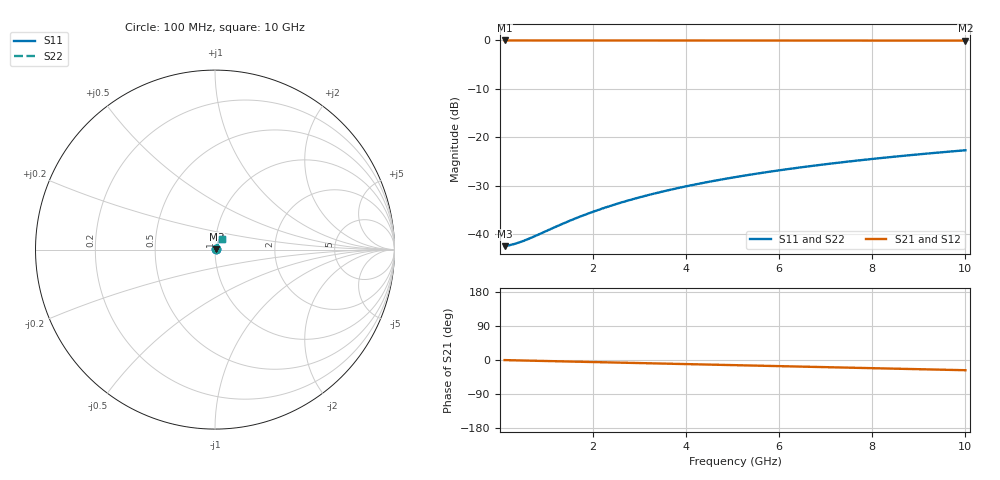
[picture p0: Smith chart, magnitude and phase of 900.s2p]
# Hz S RI R 50.00
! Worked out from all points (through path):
!   100 points, 100 MHz to 10 GHz, reference 50 ohm
!   highest |S21| = -0.07 dB at 100 MHz (marker M1); lowest = -0.1 dB at 10 GHz (marker M2)
!   group delay of S21, straight-line fit = 7.49 ps
!   lowest |S11| = -42.4 dB at 100 MHz (marker M3), VSWR 1.02, Z = 50.8 + j0.0736 ohm
!   |S11| at or under -10 dB: start of sweep to end of sweep
!   |S22| runs from -42.4 to -22.7 dB; largest |S21 - S12| = 0
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1e8  0.00751 0.000725  0.9925 -0.00467  0.9925 -0.00467  0.00751 0.000725
2e8  0.00757 0.00145  0.9924 -0.00935  0.9924 -0.00935  0.00757 0.00145
3e8  0.00762 0.00217  0.9923 -0.014  0.9923 -0.014  0.00762 0.00217
4e8  0.00767 0.00289  0.9922 -0.0187  0.9922 -0.0187  0.00767 0.00289
5e8  0.00773 0.00362  0.9921 -0.0234  0.9921 -0.0234  0.00773 0.00362
7e8  0.00785 0.00506  0.9917 -0.0327  0.9917 -0.0327  0.00785 0.00506
1.4e9  0.00845 0.0101  0.99 -0.0654  0.99 -0.0654  0.00845 0.0101
1.8e9  0.00893 0.0129  0.9885 -0.084  0.9885 -0.084  0.00893 0.0129
2.2e9  0.00952 0.0158  0.9866 -0.1026  0.9866 -0.1026  0.00952 0.0158
2.6e9  0.0102 0.0186  0.9844 -0.1211  0.9844 -0.1211  0.0102 0.0186
3e9  0.011 0.0214  0.9819 -0.1396  0.9819 -0.1396  0.011 0.0214
3.4e9  0.0119 0.0241  0.9789 -0.1581  0.9789 -0.1581  0.0119 0.0241
3.8e9  0.0129 0.0268  0.9757 -0.1765  0.9757 -0.1765  0.0129 0.0268
4.2e9  0.014 0.0295  0.9721 -0.1948  0.9721 -0.1948  0.014 0.0295
4.6e9  0.0152 0.0321  0.9681 -0.213  0.9681 -0.213  0.0152 0.0321
5.1e9  0.0168 0.0353  0.9626 -0.2357  0.9626 -0.2357  0.0168 0.0353
5.9e9  0.0198 0.0403  0.9528 -0.2717  0.9528 -0.2717  0.0198 0.0403
6.7e9  0.0231 0.045  0.9416 -0.3072  0.9416 -0.3072  0.0231 0.045
7.5e9  0.0267 0.0495  0.929 -0.3423  0.929 -0.3423  0.0267 0.0495
8.4e9  0.0312 0.0542  0.9133 -0.3811  0.9133 -0.3811  0.0312 0.0542
9.2e9  0.0355 0.058  0.898 -0.415  0.898 -0.415  0.0355 0.058
1e10  0.0401 0.0614  0.8814 -0.4483  0.8814 -0.4483  0.0401 0.0614
